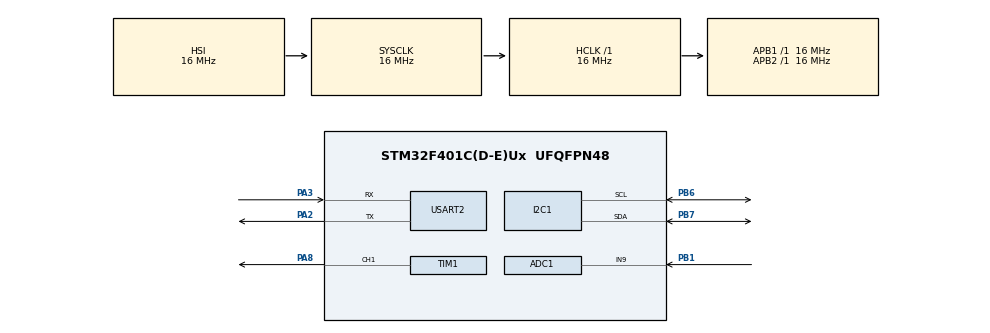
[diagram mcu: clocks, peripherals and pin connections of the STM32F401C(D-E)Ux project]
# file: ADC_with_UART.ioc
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ADC1.Channel-0\#ChannelRegularConversion=ADC_CHANNEL_9
ADC1.ContinuousConvMode=ENABLE
ADC1.NbrOfConversionFlag=1
ADC1.Rank-0\#ChannelRegularConversion=1
ADC1.SamplingTime-0\#ChannelRegularConversion=ADC_SAMPLETIME_3CYCLES
ADC1.master=1
Mcu.Family=STM32F4
Mcu.Name=STM32F401C(D-E)Ux
Mcu.Package=UFQFPN48
NVIC.PriorityGroup=NVIC_PRIORITYGROUP_4
PA13.Mode=Serial_Wire
PA13.Signal=SYS_JTMS-SWDIO
PA14.Mode=Serial_Wire
PA14.Signal=SYS_JTCK-SWCLK
PA2.Mode=Asynchronous
PA2.Signal=USART2_TX
PA3.Mode=Asynchronous
PA3.Signal=USART2_RX
PA8.Signal=S_TIM1_CH1
PB1.Signal=ADCx_IN9
PB6.Mode=I2C
PB6.Signal=I2C1_SCL
PB7.Mode=I2C
PB7.Signal=I2C1_SDA
ProjectManager.HeapSize=0x200
ProjectManager.StackSize=0x400
ProjectManager.TargetToolchain=STM32CubeIDE
RCC.AHBFreq_Value=16000000
RCC.APB1Freq_Value=16000000
RCC.APB2Freq_Value=16000000
RCC.CortexFreq_Value=16000000
RCC.HSE_VALUE=25000000
RCC.HSI_VALUE=16000000
RCC.LSE_VALUE=32768
RCC.SYSCLKFreq_VALUE=16000000
RCC.VCOOutputFreq_Value=192000000
SH.ADCx_IN9.0=ADC1_IN9,IN9
SH.S_TIM1_CH1.0=TIM1_CH1,PWM Generation1 CH1
TIM1.Channel-PWM\ Generation1\ CH1=TIM_CHANNEL_1
TIM1.Prescaler=64
TIM1.Pulse-PWM\ Generation1\ CH1=64
USART2.VirtualMode=VM_ASYNC
VP_TIM1_VS_ClockSourceINT.Mode=Internal
board=custom

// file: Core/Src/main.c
/* USER CODE BEGIN Header */
/*
  **************************************************************************
  * @file           : main.c
  * @brief          : Main program body
  **************************************************************************
  * @attention
  *
  * Copyright (c) 2024 STMicroelectronics.
  * All rights reserved.
  *
  * This software is licensed under terms that can be found in the LICENSE file
  * in the root directory of this software component.
  * If no LICENSE file comes with this software, it is provided AS-IS.
  *
  **************************************************************************
  */
/* USER CODE END Header */
#include "main.h"

/* USER CODE BEGIN Includes */
#include "stdio.h"
#include "string.h"
#include "inttypes.h"
/* USER CODE END Includes */

/* USER CODE BEGIN PD */
#define BUFF_SIZE 1024
/* USER CODE END PD */

ADC_HandleTypeDef hadc1;

I2C_HandleTypeDef hi2c1;

TIM_HandleTypeDef htim1;

UART_HandleTypeDef huart2;

void SystemClock_Config(void);
static void MX_GPIO_Init(void);
static void MX_ADC1_Init(void);
static void MX_TIM1_Init(void);
static void MX_I2C1_Init(void);
static void MX_USART2_UART_Init(void);

/* USER CODE BEGIN 0 */
uint16_t readValue;
/* USER CODE END 0 */

int main(void)
{

  /* MCU Configuration--------------------------------------------------------*/

  /* Reset of all peripherals, Initializes the Flash interface and the Systick. */
  HAL_Init();

  /* USER CODE BEGIN Init */
  //uint32_t buff[BUFF_SIZE];
  char msg[50];
  /* USER CODE END Init */

  /* Configure the system clock */
  SystemClock_Config();

  /* Initialize all configured peripherals */
  MX_GPIO_Init();
  MX_ADC1_Init();
  MX_TIM1_Init();
  MX_I2C1_Init();
  MX_USART2_UART_Init();
  /* USER CODE BEGIN 2 */

  if (HAL_ADC_Start(&hadc1) != HAL_OK) {
    sprintf(msg, "ADC Start Error\r\n");
    HAL_UART_Transmit(&huart2, (uint8_t*)msg, strlen(msg), HAL_MAX_DELAY);
    Error_Handler();
  }

  /* USER CODE END 2 */

  /* Infinite loop */
  /* USER CODE BEGIN WHILE */
  while (1)
  {
    if (HAL_ADC_PollForConversion(&hadc1, 1000) == HAL_OK) {
      readValue = HAL_ADC_GetValue(&hadc1);

      sprintf(msg, "ADC value: %" PRIu32 "\r\n", readValue);
      if (HAL_UART_Transmit(&huart2, (uint8_t*)msg, strlen(msg), HAL_MAX_DELAY) != HAL_OK) {
        sprintf(msg, "UART Transmit Error\r\n");
        HAL_UART_Transmit(&huart2, (uint8_t*)msg, strlen(msg), HAL_MAX_DELAY);
        Error_Handler();
      }
    } else {
      sprintf(msg, "ADC Poll Error\r\n");
      HAL_UART_Transmit(&huart2, (uint8_t*)msg, strlen(msg), HAL_MAX_DELAY);
    }

    HAL_Delay(1000);

    /* USER CODE END WHILE */

  }
}

void SystemClock_Config(void)
{
  RCC_OscInitTypeDef RCC_OscInitStruct = {0};
  RCC_ClkInitTypeDef RCC_ClkInitStruct = {0};

  /** Configure the main internal regulator output voltage
  */
  __HAL_RCC_PWR_CLK_ENABLE();
  __HAL_PWR_VOLTAGESCALING_CONFIG(PWR_REGULATOR_VOLTAGE_SCALE2);

  /** Initializes the RCC Oscillators according to the specified parameters
  * in the RCC_OscInitTypeDef structure.
  */
  RCC_OscInitStruct.OscillatorType = RCC_OSCILLATORTYPE_HSI;
  RCC_OscInitStruct.HSIState = RCC_HSI_ON;
  RCC_OscInitStruct.HSICalibrationValue = RCC_HSICALIBRATION_DEFAULT;
  RCC_OscInitStruct.PLL.PLLState = RCC_PLL_NONE;
  if (HAL_RCC_OscConfig(&RCC_OscInitStruct) != HAL_OK)
  {
    Error_Handler();
  }

  /** Initializes the CPU, AHB and APB buses clocks
  */
  RCC_ClkInitStruct.ClockType = RCC_CLOCKTYPE_HCLK|RCC_CLOCKTYPE_SYSCLK
                              |RCC_CLOCKTYPE_PCLK1|RCC_CLOCKTYPE_PCLK2;
  RCC_ClkInitStruct.SYSCLKSource = RCC_SYSCLKSOURCE_HSI;
  RCC_ClkInitStruct.AHBCLKDivider = RCC_SYSCLK_DIV1;
  RCC_ClkInitStruct.APB1CLKDivider = RCC_HCLK_DIV1;
  RCC_ClkInitStruct.APB2CLKDivider = RCC_HCLK_DIV1;

  if (HAL_RCC_ClockConfig(&RCC_ClkInitStruct, FLASH_LATENCY_0) != HAL_OK)
  {
    Error_Handler();
  }
}

static void MX_ADC1_Init(void)
{

  ADC_ChannelConfTypeDef sConfig = {0};

  /** Configure the global features of the ADC (Clock, Resolution, Data Alignment and number of conversion)
  */
  hadc1.Instance = ADC1;
  hadc1.Init.ClockPrescaler = ADC_CLOCK_SYNC_PCLK_DIV2;
  hadc1.Init.Resolution = ADC_RESOLUTION_12B;
  hadc1.Init.ScanConvMode = DISABLE;
  hadc1.Init.ContinuousConvMode = ENABLE;
  hadc1.Init.DiscontinuousConvMode = DISABLE;
  hadc1.Init.ExternalTrigConvEdge = ADC_EXTERNALTRIGCONVEDGE_NONE;
  hadc1.Init.ExternalTrigConv = ADC_SOFTWARE_START;
  hadc1.Init.DataAlign = ADC_DATAALIGN_RIGHT;
  hadc1.Init.NbrOfConversion = 1;
  hadc1.Init.DMAContinuousRequests = DISABLE;
  hadc1.Init.EOCSelection = ADC_EOC_SINGLE_CONV;
  if (HAL_ADC_Init(&hadc1) != HAL_OK)
  {
    Error_Handler();
  }

  /** Configure for the selected ADC regular channel its corresponding rank in the sequencer and its sample time.
  */
  sConfig.Channel = ADC_CHANNEL_9;
  sConfig.Rank = 1;
  sConfig.SamplingTime = ADC_SAMPLETIME_3CYCLES;
  if (HAL_ADC_ConfigChannel(&hadc1, &sConfig) != HAL_OK)
  {
    Error_Handler();
  }

}

static void MX_I2C1_Init(void)
{

  hi2c1.Instance = I2C1;
  hi2c1.Init.ClockSpeed = 100000;
  hi2c1.Init.DutyCycle = I2C_DUTYCYCLE_2;
  hi2c1.Init.OwnAddress1 = 0;
  hi2c1.Init.AddressingMode = I2C_ADDRESSINGMODE_7BIT;
  hi2c1.Init.DualAddressMode = I2C_DUALADDRESS_DISABLE;
  hi2c1.Init.OwnAddress2 = 0;
  hi2c1.Init.GeneralCallMode = I2C_GENERALCALL_DISABLE;
  hi2c1.Init.NoStretchMode = I2C_NOSTRETCH_DISABLE;
  if (HAL_I2C_Init(&hi2c1) != HAL_OK)
  {
    Error_Handler();
  }

}

static void MX_TIM1_Init(void)
{

  TIM_ClockConfigTypeDef sClockSourceConfig = {0};
  TIM_MasterConfigTypeDef sMasterConfig = {0};
  TIM_OC_InitTypeDef sConfigOC = {0};
  TIM_BreakDeadTimeConfigTypeDef sBreakDeadTimeConfig = {0};

  htim1.Instance = TIM1;
  htim1.Init.Prescaler = 64;
  htim1.Init.CounterMode = TIM_COUNTERMODE_UP;
  htim1.Init.Period = 65535;
  htim1.Init.ClockDivision = TIM_CLOCKDIVISION_DIV1;
  htim1.Init.RepetitionCounter = 0;
  htim1.Init.AutoReloadPreload = TIM_AUTORELOAD_PRELOAD_DISABLE;
  if (HAL_TIM_Base_Init(&htim1) != HAL_OK)
  {
    Error_Handler();
  }
  sClockSourceConfig.ClockSource = TIM_CLOCKSOURCE_INTERNAL;
  if (HAL_TIM_ConfigClockSource(&htim1, &sClockSourceConfig) != HAL_OK)
  {
    Error_Handler();
  }
  if (HAL_TIM_PWM_Init(&htim1) != HAL_OK)
  {
    Error_Handler();
  }
  sMasterConfig.MasterOutputTrigger = TIM_TRGO_RESET;
  sMasterConfig.MasterSlaveMode = TIM_MASTERSLAVEMODE_DISABLE;
  if (HAL_TIMEx_MasterConfigSynchronization(&htim1, &sMasterConfig) != HAL_OK)
  {
    Error_Handler();
  }
  sConfigOC.OCMode = TIM_OCMODE_PWM1;
  sConfigOC.Pulse = 64;
  sConfigOC.OCPolarity = TIM_OCPOLARITY_HIGH;
  sConfigOC.OCNPolarity = TIM_OCNPOLARITY_HIGH;
  sConfigOC.OCFastMode = TIM_OCFAST_DISABLE;
  sConfigOC.OCIdleState = TIM_OCIDLESTATE_RESET;
  sConfigOC.OCNIdleState = TIM_OCNIDLESTATE_RESET;
  if (HAL_TIM_PWM_ConfigChannel(&htim1, &sConfigOC, TIM_CHANNEL_1) != HAL_OK)
  {
    Error_Handler();
  }
  sBreakDeadTimeConfig.OffStateRunMode = TIM_OSSR_DISABLE;
  sBreakDeadTimeConfig.OffStateIDLEMode = TIM_OSSI_DISABLE;
  sBreakDeadTimeConfig.LockLevel = TIM_LOCKLEVEL_OFF;
  sBreakDeadTimeConfig.DeadTime = 0;
  sBreakDeadTimeConfig.BreakState = TIM_BREAK_DISABLE;
  sBreakDeadTimeConfig.BreakPolarity = TIM_BREAKPOLARITY_HIGH;
  sBreakDeadTimeConfig.AutomaticOutput = TIM_AUTOMATICOUTPUT_DISABLE;
  if (HAL_TIMEx_ConfigBreakDeadTime(&htim1, &sBreakDeadTimeConfig) != HAL_OK)
  {
    Error_Handler();
  }
  HAL_TIM_MspPostInit(&htim1);

}

static void MX_USART2_UART_Init(void)
{

  huart2.Instance = USART2;
  huart2.Init.BaudRate = 115200;
  huart2.Init.WordLength = UART_WORDLENGTH_8B;
  huart2.Init.StopBits = UART_STOPBITS_1;
  huart2.Init.Parity = UART_PARITY_NONE;
  huart2.Init.Mode = UART_MODE_TX_RX;
  huart2.Init.HwFlowCtl = UART_HWCONTROL_NONE;
  huart2.Init.OverSampling = UART_OVERSAMPLING_16;
  if (HAL_UART_Init(&huart2) != HAL_OK)
  {
    Error_Handler();
  }

}

static void MX_GPIO_Init(void)
{

  /* GPIO Ports Clock Enable */
  __HAL_RCC_GPIOA_CLK_ENABLE();
  __HAL_RCC_GPIOB_CLK_ENABLE();

}

void Error_Handler(void)
{
  __disable_irq();
  while (1)
  {
  }
}
